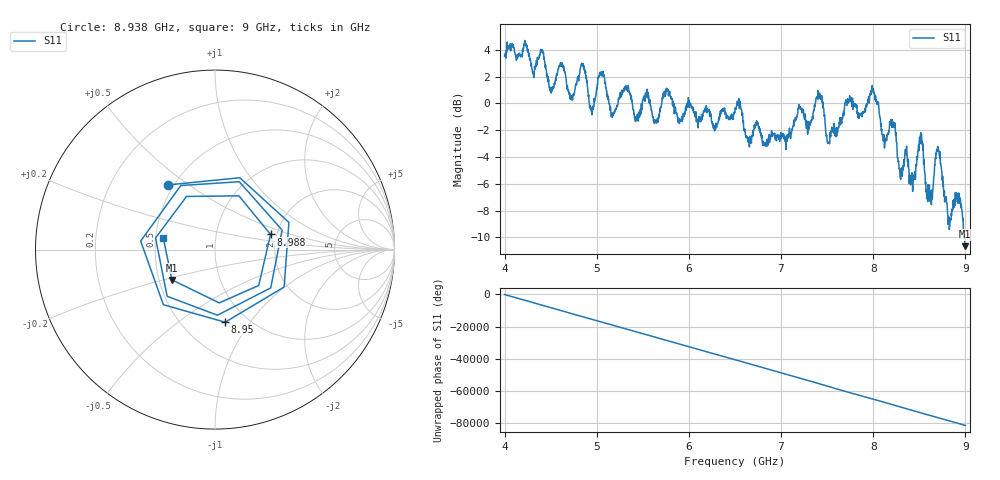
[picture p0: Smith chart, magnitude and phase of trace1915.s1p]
! Created with skrf 1.8.0 (http://scikit-rf.org).
# Hz S RI R 50.0
!freq ReS11 ImS11
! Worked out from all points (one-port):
!   1601 points, 4 GHz to 9 GHz, reference 50 ohm
!   lowest |S11| = -10.7 dB at 8.997 GHz (marker M1), VSWR 1.83, Z = 29.2 - j10.8 ohm
!   |S11| at or under -10 dB: 8.990354 GHz to end of sweep
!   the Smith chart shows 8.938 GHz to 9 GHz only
!   S11 on the Smith chart (normalised r, x): 8.938 GHz: 0.46, +0.42; 8.95 GHz: 0.79, -0.77; 8.988 GHz: 1.85, +0.35; 9 GHz: 0.55, +0.08
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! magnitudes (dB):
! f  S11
! 4 GHz  3.5
! 4.403 GHz  4.0
! 4.509 GHz  0.9
! 4.625 GHz  3.0
! 4.731 GHz  0.2
! 4.853 GHz  2.9
! 4.944 GHz  -0.7
! 5.047 GHz  2.4
! 5.169 GHz  -1.0
! 5.25 GHz  0.4
! 5.875 GHz  -1.0
! 6.5 GHz  -0.5
! 6.653 GHz  -2.6
! 7.125 GHz  -1.8
! 7.416 GHz  0.5
! 7.516 GHz  -2.9
! 7.75 GHz  0.3
! 8 GHz  1.0
! 8.375 GHz  -4.2
! 8.516 GHz  -2.2
! 8.625 GHz  -7.2
! 8.7 GHz  -3.3
! 8.825 GHz  -9.4
! 8.938 GHz  -7.0
! 8.95 GHz  -7.8
! 8.988 GHz  -9.9
! 8.997 GHz  -10.7
! 9 GHz  -10.6
